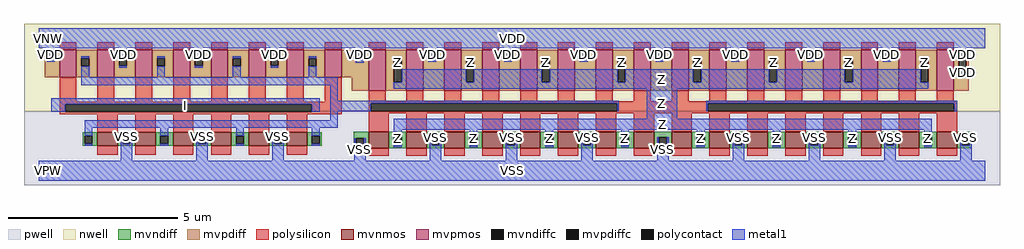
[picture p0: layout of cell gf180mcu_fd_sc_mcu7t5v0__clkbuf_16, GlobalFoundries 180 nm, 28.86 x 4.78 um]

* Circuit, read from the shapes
.subckt gf180mcu_fd_sc_mcu7t5v0__clkbuf_16 I Z VDD VNW VPW VSS
XM1 VSS I n1 VPW nfet_06v0 w=0.405u l=0.6u m=6
XM2 Z n1 VSS VPW nfet_06v0 w=0.485u l=0.6u m=16
XM3 n1 I VDD VNW pfet_06v0 w=0.82u l=0.5u m=8
XM4 Z n1 VDD VNW pfet_06v0 w=1.22u l=0.5u m=16
.ends

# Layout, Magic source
magic
tech gf180mcuD
magscale 1 10
<< nwell >>
rect -86 352 5686 870
<< pwell >>
rect -86 -86 5686 352
<< mvnmos >>
rect 348 148 468 229
rect 572 148 692 229
rect 796 148 916 229
rect 1020 148 1140 229
rect 1244 148 1364 229
rect 1468 148 1588 229
rect 1952 133 2072 230
rect 2176 133 2296 230
rect 2400 133 2520 230
rect 2624 133 2744 230
rect 2848 133 2968 230
rect 3072 133 3192 230
rect 3296 133 3416 230
rect 3520 133 3640 230
rect 3744 133 3864 230
rect 3968 133 4088 230
rect 4192 133 4312 230
rect 4416 133 4536 230
rect 4640 133 4760 230
rect 4864 133 4984 230
rect 5088 133 5208 230
rect 5312 133 5432 230
<< mvpmos >>
rect 124 552 224 716
rect 348 552 448 716
rect 572 552 672 716
rect 796 552 896 716
rect 1020 552 1120 716
rect 1244 552 1344 716
rect 1468 552 1568 716
rect 1692 552 1792 716
rect 1952 472 2052 716
rect 2176 472 2276 716
rect 2400 472 2500 716
rect 2624 472 2724 716
rect 2848 472 2948 716
rect 3072 472 3172 716
rect 3296 472 3396 716
rect 3520 472 3620 716
rect 3744 472 3844 716
rect 3968 472 4068 716
rect 4192 472 4292 716
rect 4416 472 4516 716
rect 4640 472 4740 716
rect 4864 472 4964 716
rect 5088 472 5188 716
rect 5312 472 5412 716
<< mvndiff >>
rect 260 207 348 229
rect 260 161 273 207
rect 319 161 348 207
rect 260 148 348 161
rect 468 207 572 229
rect 468 161 497 207
rect 543 161 572 207
rect 468 148 572 161
rect 692 207 796 229
rect 692 161 721 207
rect 767 161 796 207
rect 692 148 796 161
rect 916 207 1020 229
rect 916 161 945 207
rect 991 161 1020 207
rect 916 148 1020 161
rect 1140 207 1244 229
rect 1140 161 1169 207
rect 1215 161 1244 207
rect 1140 148 1244 161
rect 1364 207 1468 229
rect 1364 161 1393 207
rect 1439 161 1468 207
rect 1364 148 1468 161
rect 1588 207 1676 229
rect 1588 161 1617 207
rect 1663 161 1676 207
rect 1588 148 1676 161
rect 1864 192 1952 230
rect 1864 146 1877 192
rect 1923 146 1952 192
rect 1864 133 1952 146
rect 2072 197 2176 230
rect 2072 151 2101 197
rect 2147 151 2176 197
rect 2072 133 2176 151
rect 2296 197 2400 230
rect 2296 151 2325 197
rect 2371 151 2400 197
rect 2296 133 2400 151
rect 2520 197 2624 230
rect 2520 151 2549 197
rect 2595 151 2624 197
rect 2520 133 2624 151
rect 2744 197 2848 230
rect 2744 151 2773 197
rect 2819 151 2848 197
rect 2744 133 2848 151
rect 2968 197 3072 230
rect 2968 151 2997 197
rect 3043 151 3072 197
rect 2968 133 3072 151
rect 3192 197 3296 230
rect 3192 151 3221 197
rect 3267 151 3296 197
rect 3192 133 3296 151
rect 3416 197 3520 230
rect 3416 151 3445 197
rect 3491 151 3520 197
rect 3416 133 3520 151
rect 3640 197 3744 230
rect 3640 151 3669 197
rect 3715 151 3744 197
rect 3640 133 3744 151
rect 3864 197 3968 230
rect 3864 151 3893 197
rect 3939 151 3968 197
rect 3864 133 3968 151
rect 4088 197 4192 230
rect 4088 151 4117 197
rect 4163 151 4192 197
rect 4088 133 4192 151
rect 4312 197 4416 230
rect 4312 151 4341 197
rect 4387 151 4416 197
rect 4312 133 4416 151
rect 4536 197 4640 230
rect 4536 151 4565 197
rect 4611 151 4640 197
rect 4536 133 4640 151
rect 4760 197 4864 230
rect 4760 151 4789 197
rect 4835 151 4864 197
rect 4760 133 4864 151
rect 4984 197 5088 230
rect 4984 151 5013 197
rect 5059 151 5088 197
rect 4984 133 5088 151
rect 5208 197 5312 230
rect 5208 151 5237 197
rect 5283 151 5312 197
rect 5208 133 5312 151
rect 5432 197 5520 230
rect 5432 151 5461 197
rect 5507 151 5520 197
rect 5432 133 5520 151
<< mvpdiff >>
rect 36 703 124 716
rect 36 657 49 703
rect 95 657 124 703
rect 36 552 124 657
rect 224 665 348 716
rect 224 619 253 665
rect 299 619 348 665
rect 224 552 348 619
rect 448 667 572 716
rect 448 621 477 667
rect 523 621 572 667
rect 448 552 572 621
rect 672 665 796 716
rect 672 619 701 665
rect 747 619 796 665
rect 672 552 796 619
rect 896 667 1020 716
rect 896 621 925 667
rect 971 621 1020 667
rect 896 552 1020 621
rect 1120 665 1244 716
rect 1120 619 1149 665
rect 1195 619 1244 665
rect 1120 552 1244 619
rect 1344 667 1468 716
rect 1344 621 1373 667
rect 1419 621 1468 667
rect 1344 552 1468 621
rect 1568 665 1692 716
rect 1568 619 1597 665
rect 1643 619 1692 665
rect 1568 552 1692 619
rect 1792 703 1952 716
rect 1792 657 1877 703
rect 1923 657 1952 703
rect 1792 552 1952 657
rect 1852 472 1952 552
rect 2052 665 2176 716
rect 2052 525 2101 665
rect 2147 525 2176 665
rect 2052 472 2176 525
rect 2276 703 2400 716
rect 2276 657 2305 703
rect 2351 657 2400 703
rect 2276 472 2400 657
rect 2500 665 2624 716
rect 2500 525 2529 665
rect 2575 525 2624 665
rect 2500 472 2624 525
rect 2724 703 2848 716
rect 2724 657 2753 703
rect 2799 657 2848 703
rect 2724 472 2848 657
rect 2948 665 3072 716
rect 2948 525 2977 665
rect 3023 525 3072 665
rect 2948 472 3072 525
rect 3172 703 3296 716
rect 3172 657 3201 703
rect 3247 657 3296 703
rect 3172 472 3296 657
rect 3396 665 3520 716
rect 3396 525 3425 665
rect 3471 525 3520 665
rect 3396 472 3520 525
rect 3620 703 3744 716
rect 3620 657 3649 703
rect 3695 657 3744 703
rect 3620 472 3744 657
rect 3844 665 3968 716
rect 3844 525 3873 665
rect 3919 525 3968 665
rect 3844 472 3968 525
rect 4068 703 4192 716
rect 4068 657 4097 703
rect 4143 657 4192 703
rect 4068 472 4192 657
rect 4292 665 4416 716
rect 4292 525 4321 665
rect 4367 525 4416 665
rect 4292 472 4416 525
rect 4516 703 4640 716
rect 4516 657 4545 703
rect 4591 657 4640 703
rect 4516 472 4640 657
rect 4740 665 4864 716
rect 4740 525 4769 665
rect 4815 525 4864 665
rect 4740 472 4864 525
rect 4964 703 5088 716
rect 4964 657 4993 703
rect 5039 657 5088 703
rect 4964 472 5088 657
rect 5188 665 5312 716
rect 5188 525 5217 665
rect 5263 525 5312 665
rect 5188 472 5312 525
rect 5412 703 5500 716
rect 5412 563 5441 703
rect 5487 563 5500 703
rect 5412 472 5500 563
<< mvndiffc >>
rect 273 161 319 207
rect 497 161 543 207
rect 721 161 767 207
rect 945 161 991 207
rect 1169 161 1215 207
rect 1393 161 1439 207
rect 1617 161 1663 207
rect 1877 146 1923 192
rect 2101 151 2147 197
rect 2325 151 2371 197
rect 2549 151 2595 197
rect 2773 151 2819 197
rect 2997 151 3043 197
rect 3221 151 3267 197
rect 3445 151 3491 197
rect 3669 151 3715 197
rect 3893 151 3939 197
rect 4117 151 4163 197
rect 4341 151 4387 197
rect 4565 151 4611 197
rect 4789 151 4835 197
rect 5013 151 5059 197
rect 5237 151 5283 197
rect 5461 151 5507 197
<< mvpdiffc >>
rect 49 657 95 703
rect 253 619 299 665
rect 477 621 523 667
rect 701 619 747 665
rect 925 621 971 667
rect 1149 619 1195 665
rect 1373 621 1419 667
rect 1597 619 1643 665
rect 1877 657 1923 703
rect 2101 525 2147 665
rect 2305 657 2351 703
rect 2529 525 2575 665
rect 2753 657 2799 703
rect 2977 525 3023 665
rect 3201 657 3247 703
rect 3425 525 3471 665
rect 3649 657 3695 703
rect 3873 525 3919 665
rect 4097 657 4143 703
rect 4321 525 4367 665
rect 4545 657 4591 703
rect 4769 525 4815 665
rect 4993 657 5039 703
rect 5217 525 5263 665
rect 5441 563 5487 703
<< polysilicon >>
rect 124 716 224 760
rect 348 716 448 760
rect 572 716 672 760
rect 796 716 896 760
rect 1020 716 1120 760
rect 1244 716 1344 760
rect 1468 716 1568 760
rect 1692 716 1792 760
rect 1952 716 2052 760
rect 2176 716 2276 760
rect 2400 716 2500 760
rect 2624 716 2724 760
rect 2848 716 2948 760
rect 3072 716 3172 760
rect 3296 716 3396 760
rect 3520 716 3620 760
rect 3744 716 3844 760
rect 3968 716 4068 760
rect 4192 716 4292 760
rect 4416 716 4516 760
rect 4640 716 4740 760
rect 4864 716 4964 760
rect 5088 716 5188 760
rect 5312 716 5412 760
rect 124 407 224 552
rect 348 407 448 552
rect 572 407 672 552
rect 796 407 896 552
rect 1020 407 1120 552
rect 1244 407 1344 552
rect 1468 407 1568 552
rect 1692 407 1792 552
rect 124 394 1792 407
rect 124 348 159 394
rect 1615 348 1792 394
rect 124 335 1792 348
rect 1952 412 2052 472
rect 2176 412 2276 472
rect 2400 412 2500 472
rect 2624 412 2724 472
rect 2848 412 2948 472
rect 3072 412 3172 472
rect 3296 412 3396 472
rect 3520 412 3620 472
rect 3744 412 3844 472
rect 3968 412 4068 472
rect 4192 412 4292 472
rect 4416 412 4516 472
rect 4640 412 4740 472
rect 4864 412 4964 472
rect 5088 412 5188 472
rect 5312 412 5412 472
rect 1952 399 5432 412
rect 1952 353 1965 399
rect 3421 353 3959 399
rect 5415 353 5432 399
rect 1952 340 5432 353
rect 348 229 468 335
rect 572 229 692 335
rect 796 229 916 335
rect 1020 229 1140 335
rect 1244 229 1364 335
rect 1468 229 1588 335
rect 1952 230 2072 340
rect 2176 230 2296 340
rect 2400 230 2520 340
rect 2624 230 2744 340
rect 2848 338 3192 340
rect 2848 230 2968 338
rect 3072 230 3192 338
rect 3296 230 3416 340
rect 3520 230 3640 340
rect 3744 230 3864 340
rect 3968 230 4088 340
rect 4192 230 4312 340
rect 4416 230 4536 340
rect 4640 230 4760 340
rect 4864 230 4984 340
rect 5088 230 5208 340
rect 5312 230 5432 340
rect 348 94 468 148
rect 572 94 692 148
rect 796 94 916 148
rect 1020 94 1140 148
rect 1244 94 1364 148
rect 1468 94 1588 148
rect 1952 89 2072 133
rect 2176 89 2296 133
rect 2400 89 2520 133
rect 2624 89 2744 133
rect 2848 89 2968 133
rect 3072 89 3192 133
rect 3296 89 3416 133
rect 3520 89 3640 133
rect 3744 89 3864 133
rect 3968 89 4088 133
rect 4192 89 4312 133
rect 4416 89 4536 133
rect 4640 89 4760 133
rect 4864 89 4984 133
rect 5088 89 5208 133
rect 5312 89 5432 133
<< polycontact >>
rect 159 348 1615 394
rect 1965 353 3421 399
rect 3959 353 5415 399
<< metal1 >>
rect 0 724 5600 844
rect 49 703 95 724
rect 49 646 95 657
rect 253 665 299 678
rect 253 552 299 619
rect 477 667 523 724
rect 477 610 523 621
rect 701 665 747 678
rect 701 552 747 619
rect 925 667 971 724
rect 925 610 971 621
rect 1149 665 1195 678
rect 1149 552 1195 619
rect 1373 667 1419 724
rect 1877 703 1923 724
rect 1373 610 1419 621
rect 1597 665 1643 678
rect 2305 703 2351 724
rect 1877 638 1923 657
rect 2101 665 2147 678
rect 1597 552 1643 619
rect 253 506 1770 552
rect 74 394 1662 430
rect 74 348 159 394
rect 1615 348 1662 394
rect 1724 413 1770 506
rect 2753 703 2799 724
rect 2305 646 2351 657
rect 2529 665 2575 678
rect 2147 525 2529 600
rect 3201 703 3247 724
rect 2753 646 2799 657
rect 2977 665 3023 678
rect 2575 525 2977 600
rect 3649 703 3695 724
rect 3201 646 3247 657
rect 3425 665 3471 678
rect 3023 525 3425 600
rect 4097 703 4143 724
rect 3649 646 3695 657
rect 3873 665 3919 678
rect 3471 525 3873 600
rect 4545 703 4591 724
rect 4097 646 4143 657
rect 4321 665 4367 678
rect 3919 525 4321 600
rect 4993 703 5039 724
rect 4545 646 4591 657
rect 4769 665 4815 678
rect 4367 525 4769 600
rect 5441 703 5487 724
rect 4993 646 5039 657
rect 5217 665 5263 678
rect 4815 525 5217 600
rect 5441 552 5487 563
rect 2101 484 5263 525
rect 1724 399 3432 413
rect 1724 353 1965 399
rect 3421 353 3432 399
rect 1724 300 1770 353
rect 3597 307 3777 484
rect 3948 399 5432 413
rect 3948 353 3959 399
rect 5415 353 5432 399
rect 273 254 1770 300
rect 273 207 319 254
rect 273 148 319 161
rect 486 207 554 208
rect 486 161 497 207
rect 543 161 554 207
rect 486 60 554 161
rect 721 207 767 254
rect 721 148 767 161
rect 934 207 1002 208
rect 934 161 945 207
rect 991 161 1002 207
rect 934 60 1002 161
rect 1169 207 1215 254
rect 1169 148 1215 161
rect 1382 207 1450 208
rect 1382 161 1393 207
rect 1439 161 1450 207
rect 1382 60 1450 161
rect 1617 207 1663 254
rect 2101 243 5283 307
rect 2101 197 2147 243
rect 2549 197 2595 243
rect 2997 197 3043 243
rect 3445 197 3491 243
rect 3893 197 3939 243
rect 4341 197 4387 243
rect 4789 197 4835 243
rect 5237 197 5283 243
rect 1617 148 1663 161
rect 1866 146 1877 192
rect 1923 146 1934 192
rect 1866 60 1934 146
rect 2101 138 2147 151
rect 2314 151 2325 197
rect 2371 151 2382 197
rect 2314 60 2382 151
rect 2549 138 2595 151
rect 2762 151 2773 197
rect 2819 151 2830 197
rect 2762 60 2830 151
rect 2997 138 3043 151
rect 3210 151 3221 197
rect 3267 151 3278 197
rect 3210 60 3278 151
rect 3445 138 3491 151
rect 3658 151 3669 197
rect 3715 151 3726 197
rect 3658 60 3726 151
rect 3893 138 3939 151
rect 4106 151 4117 197
rect 4163 151 4174 197
rect 4106 60 4174 151
rect 4341 138 4387 151
rect 4554 151 4565 197
rect 4611 151 4622 197
rect 4554 60 4622 151
rect 4789 138 4835 151
rect 5002 151 5013 197
rect 5059 151 5070 197
rect 5002 60 5070 151
rect 5237 138 5283 151
rect 5450 151 5461 197
rect 5507 151 5518 197
rect 5450 60 5518 151
rect 0 -60 5600 60
<< labels >>
flabel metal1 s 0 724 5600 844 0 FreeSans 600 0 0 0 VDD
port 3 nsew power bidirectional abutment
flabel metal1 s 1382 197 1450 208 0 FreeSans 600 0 0 0 VSS
port 6 nsew ground bidirectional abutment
flabel metal1 s 5217 600 5263 678 0 FreeSans 600 0 0 0 Z
port 2 nsew default output
flabel metal1 s 74 348 1662 430 0 FreeSans 600 0 0 0 I
port 1 nsew default input
flabel nwell s 10 734 110 834 0 FreeSans 400 0 0 0 VNW
port 4 nsew power bidirectional
flabel pwell s 10 -50 110 50 0 FreeSans 400 0 0 0 VPW
port 5 nsew ground bidirectional
rlabel metal1 s 4769 600 4815 678 1 Z
port 2 nsew default output
rlabel metal1 s 4321 600 4367 678 1 Z
port 2 nsew default output
rlabel metal1 s 3873 600 3919 678 1 Z
port 2 nsew default output
rlabel metal1 s 3425 600 3471 678 1 Z
port 2 nsew default output
rlabel metal1 s 2977 600 3023 678 1 Z
port 2 nsew default output
rlabel metal1 s 2529 600 2575 678 1 Z
port 2 nsew default output
rlabel metal1 s 2101 600 2147 678 1 Z
port 2 nsew default output
rlabel metal1 s 2101 484 5263 600 1 Z
port 2 nsew default output
rlabel metal1 s 3597 307 3777 484 1 Z
port 2 nsew default output
rlabel metal1 s 2101 243 5283 307 1 Z
port 2 nsew default output
rlabel metal1 s 5237 138 5283 243 1 Z
port 2 nsew default output
rlabel metal1 s 4789 138 4835 243 1 Z
port 2 nsew default output
rlabel metal1 s 4341 138 4387 243 1 Z
port 2 nsew default output
rlabel metal1 s 3893 138 3939 243 1 Z
port 2 nsew default output
rlabel metal1 s 3445 138 3491 243 1 Z
port 2 nsew default output
rlabel metal1 s 2997 138 3043 243 1 Z
port 2 nsew default output
rlabel metal1 s 2549 138 2595 243 1 Z
port 2 nsew default output
rlabel metal1 s 2101 138 2147 243 1 Z
port 2 nsew default output
rlabel metal1 s 5441 646 5487 724 1 VDD
port 3 nsew power bidirectional abutment
rlabel metal1 s 4993 646 5039 724 1 VDD
port 3 nsew power bidirectional abutment
rlabel metal1 s 4545 646 4591 724 1 VDD
port 3 nsew power bidirectional abutment
rlabel metal1 s 4097 646 4143 724 1 VDD
port 3 nsew power bidirectional abutment
rlabel metal1 s 3649 646 3695 724 1 VDD
port 3 nsew power bidirectional abutment
rlabel metal1 s 3201 646 3247 724 1 VDD
port 3 nsew power bidirectional abutment
rlabel metal1 s 2753 646 2799 724 1 VDD
port 3 nsew power bidirectional abutment
rlabel metal1 s 2305 646 2351 724 1 VDD
port 3 nsew power bidirectional abutment
rlabel metal1 s 1877 646 1923 724 1 VDD
port 3 nsew power bidirectional abutment
rlabel metal1 s 1373 646 1419 724 1 VDD
port 3 nsew power bidirectional abutment
rlabel metal1 s 925 646 971 724 1 VDD
port 3 nsew power bidirectional abutment
rlabel metal1 s 477 646 523 724 1 VDD
port 3 nsew power bidirectional abutment
rlabel metal1 s 49 646 95 724 1 VDD
port 3 nsew power bidirectional abutment
rlabel metal1 s 5441 638 5487 646 1 VDD
port 3 nsew power bidirectional abutment
rlabel metal1 s 1877 638 1923 646 1 VDD
port 3 nsew power bidirectional abutment
rlabel metal1 s 1373 638 1419 646 1 VDD
port 3 nsew power bidirectional abutment
rlabel metal1 s 925 638 971 646 1 VDD
port 3 nsew power bidirectional abutment
rlabel metal1 s 477 638 523 646 1 VDD
port 3 nsew power bidirectional abutment
rlabel metal1 s 5441 610 5487 638 1 VDD
port 3 nsew power bidirectional abutment
rlabel metal1 s 1373 610 1419 638 1 VDD
port 3 nsew power bidirectional abutment
rlabel metal1 s 925 610 971 638 1 VDD
port 3 nsew power bidirectional abutment
rlabel metal1 s 477 610 523 638 1 VDD
port 3 nsew power bidirectional abutment
rlabel metal1 s 5441 552 5487 610 1 VDD
port 3 nsew power bidirectional abutment
rlabel metal1 s 934 197 1002 208 1 VSS
port 6 nsew ground bidirectional abutment
rlabel metal1 s 486 197 554 208 1 VSS
port 6 nsew ground bidirectional abutment
rlabel metal1 s 5450 192 5518 197 1 VSS
port 6 nsew ground bidirectional abutment
rlabel metal1 s 5002 192 5070 197 1 VSS
port 6 nsew ground bidirectional abutment
rlabel metal1 s 4554 192 4622 197 1 VSS
port 6 nsew ground bidirectional abutment
rlabel metal1 s 4106 192 4174 197 1 VSS
port 6 nsew ground bidirectional abutment
rlabel metal1 s 3658 192 3726 197 1 VSS
port 6 nsew ground bidirectional abutment
rlabel metal1 s 3210 192 3278 197 1 VSS
port 6 nsew ground bidirectional abutment
rlabel metal1 s 2762 192 2830 197 1 VSS
port 6 nsew ground bidirectional abutment
rlabel metal1 s 2314 192 2382 197 1 VSS
port 6 nsew ground bidirectional abutment
rlabel metal1 s 1382 192 1450 197 1 VSS
port 6 nsew ground bidirectional abutment
rlabel metal1 s 934 192 1002 197 1 VSS
port 6 nsew ground bidirectional abutment
rlabel metal1 s 486 192 554 197 1 VSS
port 6 nsew ground bidirectional abutment
rlabel metal1 s 5450 60 5518 192 1 VSS
port 6 nsew ground bidirectional abutment
rlabel metal1 s 5002 60 5070 192 1 VSS
port 6 nsew ground bidirectional abutment
rlabel metal1 s 4554 60 4622 192 1 VSS
port 6 nsew ground bidirectional abutment
rlabel metal1 s 4106 60 4174 192 1 VSS
port 6 nsew ground bidirectional abutment
rlabel metal1 s 3658 60 3726 192 1 VSS
port 6 nsew ground bidirectional abutment
rlabel metal1 s 3210 60 3278 192 1 VSS
port 6 nsew ground bidirectional abutment
rlabel metal1 s 2762 60 2830 192 1 VSS
port 6 nsew ground bidirectional abutment
rlabel metal1 s 2314 60 2382 192 1 VSS
port 6 nsew ground bidirectional abutment
rlabel metal1 s 1866 60 1934 192 1 VSS
port 6 nsew ground bidirectional abutment
rlabel metal1 s 1382 60 1450 192 1 VSS
port 6 nsew ground bidirectional abutment
rlabel metal1 s 934 60 1002 192 1 VSS
port 6 nsew ground bidirectional abutment
rlabel metal1 s 486 60 554 192 1 VSS
port 6 nsew ground bidirectional abutment
rlabel metal1 s 0 -60 5600 60 1 VSS
port 6 nsew ground bidirectional abutment
<< properties >>
string FIXED_BBOX 0 0 5600 784
string GDS_END 801124
string GDS_FILE $PDKPATH/libs.ref/gf180mcu_fd_sc_mcu7t5v0/gds/gf180mcu_fd_sc_mcu7t5v0.gds
string GDS_START 789472
string LEFclass core
string LEFsite GF018hv5v_mcu_sc7
string LEFsymmetry X Y
<< end >>
